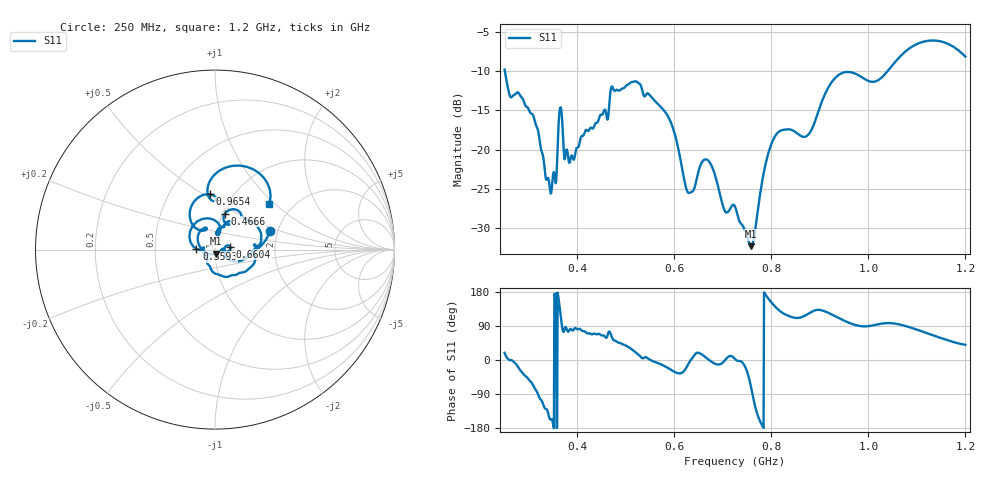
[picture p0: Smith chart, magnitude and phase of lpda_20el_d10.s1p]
! TOUCHSTONE file generated by CST MICROWAVE STUDIO
! Date and time: Wed Nov 11 10:36:14 2026
! Project name: lpda.cst
! Parameters = {L1=555.2; L10=215.096; L11=193.586; L12=174.228; L13=156.805; L14=141.124; L15=127.012; L16=114.311; L17=102.88; L18=92.5917; L19=83.3325; L2=499.68; L20=74.9993; L21=67.4994; L22=60.7494; L3=449.712; L4=404.741; L5=364.267; L6=327.84; L7=295.056; L8=265.55; L9=238.995; a=15; boomL=1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
! Header version: 2024
! Port assignment regex: !\s*Touchstone port\s*([0-9]+)\s*=\s*(CST MWS port|CST DES external port|CST DES block port)\s*(.+)\s* \(\"(.*)\"\)(\s*mode\s*([0-9]+))?.*
! Touchstone port assignment:
! Touchstone port 1 = CST MWS port 1 ("")
# GHz S MA R 50
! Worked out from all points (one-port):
!   1001 points, 250 MHz to 1.2 GHz, reference 50 ohm
!   lowest |S11| = -32.3 dB at 758.2 MHz (marker M1), VSWR 1.05, Z = 50.7 - j2.35 ohm
!   |S11| at or under -10 dB: 250.5 MHz to 1.04 GHz (789.2 MHz wide, 122 % of centre)
!   S11 on the Smith chart (normalised r, x): 250 MHz: 1.82, +0.42; 359.2 MHz: 0.81, +0.01; 466.6 MHz: 1.03, +0.43; 660.4 MHz: 1.18, +0.04; 965.4 MHz: 0.78, +0.53; 1.2 GHz: 1.53, +0.91
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0.25  0.3234 18.9
0.3108  0.158 -72.1
0.34215  0.06095 -152.2
0.3526  0.07053 174.2
0.35925  0.1041 177.8
0.364  0.1818 133.0
0.36875  0.1526 84.8
0.37635  0.0965 86.3
0.38775  0.09167 80.4
0.4666  0.2079 74.6
0.4875  0.2383 45.0
0.52645  0.2648 13.5
0.60625  0.1078 -34.6
0.63  0.05297 -7.5
0.6604  0.08578 11.2
0.7041  0.04065 -0.9
0.725  0.04336 2.6
0.75825  0.02429 -72.3
0.7991  0.1066 153.3
0.84375  0.1327 112.7
0.8751  0.1237 121.3
0.9226  0.2639 121.3
0.9625  0.3113 97.0
0.96535  0.3101 95.6
1.01665  0.2732 93.4
1.08125  0.4332 88.0
1.13065  0.4948 66.4
1.2  0.391 40.1
